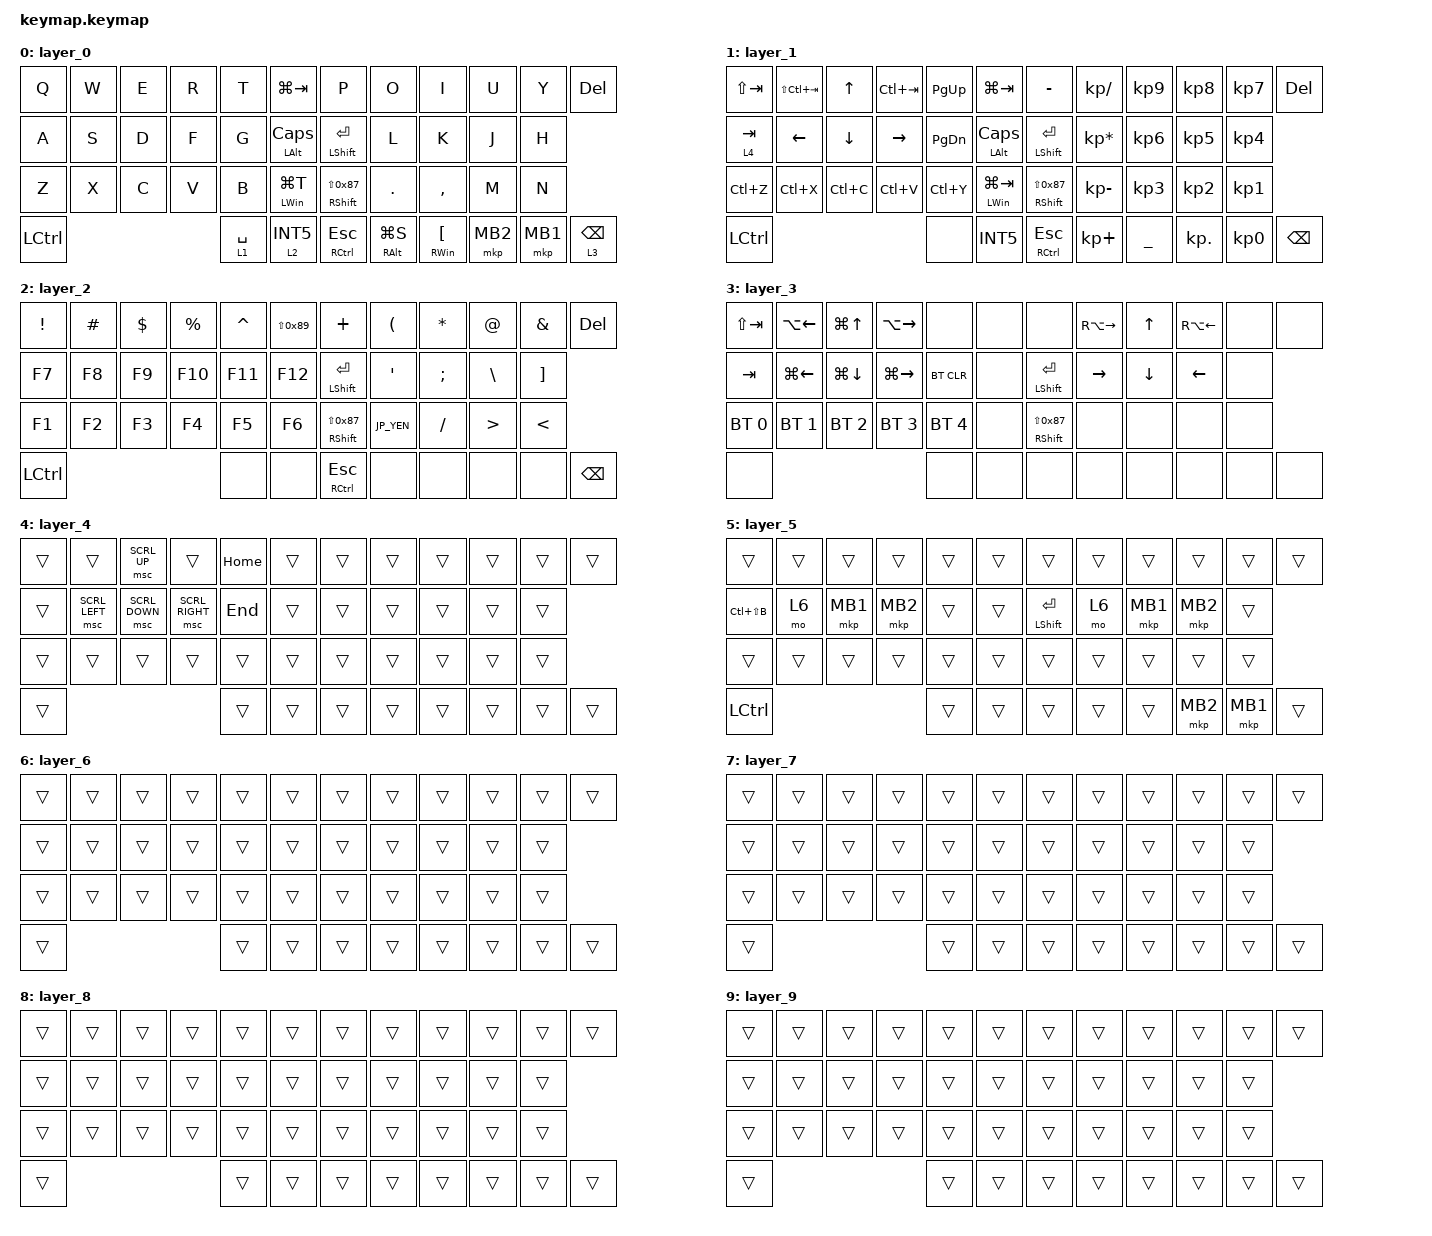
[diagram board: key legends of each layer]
#include <behaviors.dtsi>
#include <dt-bindings/zmk/bt.h>
#include <dt-bindings/zmk/keys.h>
#include <dt-bindings/zmk/pointing.h>

#define JP_DQUOTE       AT                // "
#define JP_AMPERSAND    CARET             // &
#define JP_QUOTE        AMPERSAND         // '
#define JP_EQUAL        UNDER             // =
#define JP_CARET        EQUAL             // ^
#define JP_YEN          0x89              // ¥
#define JP_PLUS         COLON             // +
#define JP_TILDE        PLUS              // ~
#define JP_PIPE         LS(0x89)          // |
#define JP_AT           LEFT_BRACKET      // @
#define JP_COLON        SINGLE_QUOTE      // :
#define JP_ASTERISK     DOUBLE_QUOTES     // *
#define JP_BACKQUOTE    LEFT_BRACE        // `
#define JP_UNDERSCORE   LS(0x87)          // _
#define JP_LBRACKET     RIGHT_BRACKET     // [
#define JP_RBRACKET     BACKSLASH         // ]
#define JP_LPAREN       ASTERISK          // (
#define JP_RPAREN       LEFT_PARENTHESIS  // )
#define JP_LBRACE       RIGHT_BRACE       // {
#define JP_RBRACE       PIPE              // }
#define JP_KANA         LANGUAGE_1        // かな
#define JP_EISU         LANGUAGE_2        // 英数
#define JP_HANZEN       GRAVE             // 半角/全角

/ {
    macros {
        sel_win_0: sel_win_0 {
            compatible = "zmk,behavior-macro";
            #binding-cells = <0>;
            bindings = <&bt BT_SEL 0 &to 0>;
        };

        sel_win_1: sel_win_1 {
            compatible = "zmk,behavior-macro";
            #binding-cells = <0>;
            bindings = <&bt BT_SEL 1 &to 0>;
        };

        sel_win_2: sel_win_2 {
            compatible = "zmk,behavior-macro";
            #binding-cells = <0>;
            bindings = <&bt BT_SEL 2 &to 0>;
        };

        sel_ipad_3: sel_ipad_3 {
            compatible = "zmk,behavior-macro";
            #binding-cells = <0>;
            bindings = <&bt BT_SEL 3 &to 7>;
        };

        sel_ipad_4: sel_ipad_4 {
            compatible = "zmk,behavior-macro";
            #binding-cells = <0>;
            bindings = <&bt BT_SEL 4 &to 7>;
        };

        splitview_l: splitview_l {
            compatible = "zmk,behavior-macro";
            #binding-cells = <0>;
            bindings =
                <&macro_press>,
                <&kp GLOBE>,
                <&macro_wait_time 50>,
                <&macro_press>,
                <&kp LEFT_CONTROL>,
                <&macro_tap_time 50>,
                <&macro_tap>,
                <&kp LEFT>,
                <&macro_release>,
                <&kp LEFT_CONTROL>,
                <&macro_release>,
                <&kp GLOBE>;

            label = "SPLITVIEW_L";
        };

        //
    }; //
    behaviors {
        // タップでマウスボタン、長押しでレイヤー移動するカスタム設定

        lt_mouse: lt_mouse {
            compatible = "zmk,behavior-hold-tap";
            #binding-cells = <2>;
            flavor = "tap-preferred";    // タップ操作を優先する設定
            tapping-term-ms = <200>;     // 200ミリ秒以上の長押しでレイヤー切り替え
            bindings = <&mo>, <&mkp>;

            // 1つ目の引数にレイヤー(&mo)、2つ目にマウスボタン(&mkp)
        };
    };

    keymap {
        compatible = "zmk,keymap";

        layer_0 {
            bindings = <
&kp Q      &kp W  &kp E  &kp R  &kp T        &kp LG(TAB)         &kp P                          &kp O           &kp I           &kp U     &kp Y     &kp DEL
&kp A      &kp S  &kp D  &kp F  &kp G        &mt LALT CAPS       &mt LEFT_SHIFT ENTER           &kp L           &kp K           &kp J     &kp H
&kp Z      &kp X  &kp C  &kp V  &kp B        &mt LEFT_WIN LG(T)  &mt RIGHT_SHIFT JP_UNDERSCORE  &kp PERIOD      &kp COMMA       &kp M     &kp N
&kp LCTRL                       &lt 1 SPACE  &lt 2 INT5          &mt RCTRL ESC                  &mt RALT LG(S)  &mt RWIN JP_AT  &mkp MB2  &mkp MB1  &lt 3 BACKSPACE
            >;
        };

        layer_1 {
            bindings = <
&kp LS(TAB)  &kp LS(LC(TAB))  &kp UP     &kp LC(TAB)  &kp PAGE_UP    &kp LG(TAB)           &kp MINUS                      &kp KP_SLASH     &kp KP_NUMBER_9  &kp KP_NUMBER_8  &kp KP_NUMBER_7  &kp DEL
&lt 4 TAB    &kp LEFT         &kp DOWN   &kp RIGHT    &kp PAGE_DOWN  &mt LALT CAPS         &mt LEFT_SHIFT ENTER           &kp KP_MULTIPLY  &kp KP_NUMBER_6  &kp KP_NUMBER_5  &kp KP_NUMBER_4
&kp LC(Z)    &kp LC(X)        &kp LC(C)  &kp LC(V)    &kp LC(Y)      &mt LEFT_WIN LG(TAB)  &mt RIGHT_SHIFT JP_UNDERSCORE  &kp KP_MINUS     &kp KP_NUMBER_3  &kp KP_NUMBER_2  &kp KP_NUMBER_1
&kp LCTRL                                             &none          &kp INT5              &mt RCTRL ESC                  &kp KP_PLUS      &kp JP_EQUAL     &kp KP_DOT       &kp KP_NUMBER_0  &kp BACKSPACE
            >;
        };

        layer_2 {
            bindings = <
&kp EXCLAMATION  &kp HASH  &kp DOLLAR  &kp PERCENT  &kp JP_AMPERSAND  &kp JP_PIPE  &kp JP_TILDE                   &kp JP_RPAREN     &kp JP_LPAREN  &kp JP_DQUOTE     &kp JP_QUOTE     &kp DEL
&kp F7           &kp F8    &kp F9      &kp F10      &kp F11           &kp F12      &mt LEFT_SHIFT ENTER           &kp SINGLE_QUOTE  &kp SEMICOLON  &kp JP_RBRACKET   &kp JP_LBRACKET
&kp F1           &kp F2    &kp F3      &kp F4       &kp F5            &kp F6       &mt RIGHT_SHIFT JP_UNDERSCORE  &kp JP_YEN        &kp SLASH      &kp GREATER_THAN  &kp LESS_THAN
&kp LCTRL                                           &none             &none        &mt RCTRL ESC                  &none             &none          &none             &none            &kp BACKSPACE
            >;
        };

        layer_3 {
            bindings = <
&kp LS(TAB)   &kp LA(LEFT)  &kp LG(UP)    &kp LA(RIGHT)  &none         &none  &none                          &kp RA(RIGHT_ARROW)  &kp UP    &kp RA(LEFT_ARROW)  &none  &none
&kp TAB       &kp LG(LEFT)  &kp LG(DOWN)  &kp LG(RIGHT)  &bt BT_CLR    &none  &mt LEFT_SHIFT ENTER           &kp RIGHT            &kp DOWN  &kp LEFT            &none
&bt BT_SEL 0  &bt BT_SEL 1  &bt BT_SEL 2  &bt BT_SEL 3   &bt BT_SEL 4  &none  &mt RIGHT_SHIFT JP_UNDERSCORE  &none                &none     &none               &none
&none                                                    &none         &none  &none                          &none                &none     &none               &none  &none
            >;
        };

        layer_4 {
            bindings = <
&trans  &trans          &msc SCRL_UP    &trans           &kp HOME  &trans  &trans  &trans  &trans  &trans  &trans  &trans
&trans  &msc SCRL_LEFT  &msc SCRL_DOWN  &msc SCRL_RIGHT  &kp END   &trans  &trans  &trans  &trans  &trans  &trans
&trans  &trans          &trans          &trans           &trans    &trans  &trans  &trans  &trans  &trans  &trans
&trans                                                   &trans    &trans  &trans  &trans  &trans  &trans  &trans  &trans
            >;
        };

        layer_5 {
            bindings = <
&trans         &trans  &trans    &trans    &trans  &trans  &trans           &trans  &trans    &trans    &trans    &trans
&kp LC(LS(B))  &mo 6   &mkp MB1  &mkp MB2  &trans  &trans  &mt LSHFT ENTER  &mo 6   &mkp MB1  &mkp MB2  &trans
&trans         &trans  &trans    &trans    &trans  &trans  &trans           &trans  &trans    &trans    &trans
&kp LCTRL                                  &trans  &trans  &trans           &trans  &trans    &mkp MB2  &mkp MB1  &trans
            >;
        };

        layer_6 {
            bindings = <
&trans  &trans  &trans  &trans  &trans  &trans  &trans  &trans  &trans  &trans  &trans  &trans
&trans  &trans  &trans  &trans  &trans  &trans  &trans  &trans  &trans  &trans  &trans
&trans  &trans  &trans  &trans  &trans  &trans  &trans  &trans  &trans  &trans  &trans
&trans                          &trans  &trans  &trans  &trans  &trans  &trans  &trans  &trans
            >;
        };

        layer_7 {
            bindings = <
&trans  &trans  &trans  &trans  &trans  &trans  &trans  &trans  &trans  &trans  &trans  &trans
&trans  &trans  &trans  &trans  &trans  &trans  &trans  &trans  &trans  &trans  &trans
&trans  &trans  &trans  &trans  &trans  &trans  &trans  &trans  &trans  &trans  &trans
&trans                          &trans  &trans  &trans  &trans  &trans  &trans  &trans  &trans
            >;
        };

        layer_8 {
            bindings = <
&trans  &trans  &trans  &trans  &trans  &trans  &trans  &trans  &trans  &trans  &trans  &trans
&trans  &trans  &trans  &trans  &trans  &trans  &trans  &trans  &trans  &trans  &trans
&trans  &trans  &trans  &trans  &trans  &trans  &trans  &trans  &trans  &trans  &trans
&trans                          &trans  &trans  &trans  &trans  &trans  &trans  &trans  &trans
            >;
        };

        layer_9 {
            bindings = <
&trans  &trans  &trans  &trans  &trans  &trans  &trans  &trans  &trans  &trans  &trans  &trans
&trans  &trans  &trans  &trans  &trans  &trans  &trans  &trans  &trans  &trans  &trans
&trans  &trans  &trans  &trans  &trans  &trans  &trans  &trans  &trans  &trans  &trans
&trans                          &trans  &trans  &trans  &trans  &trans  &trans  &trans  &trans
            >;
        };
    };
};
